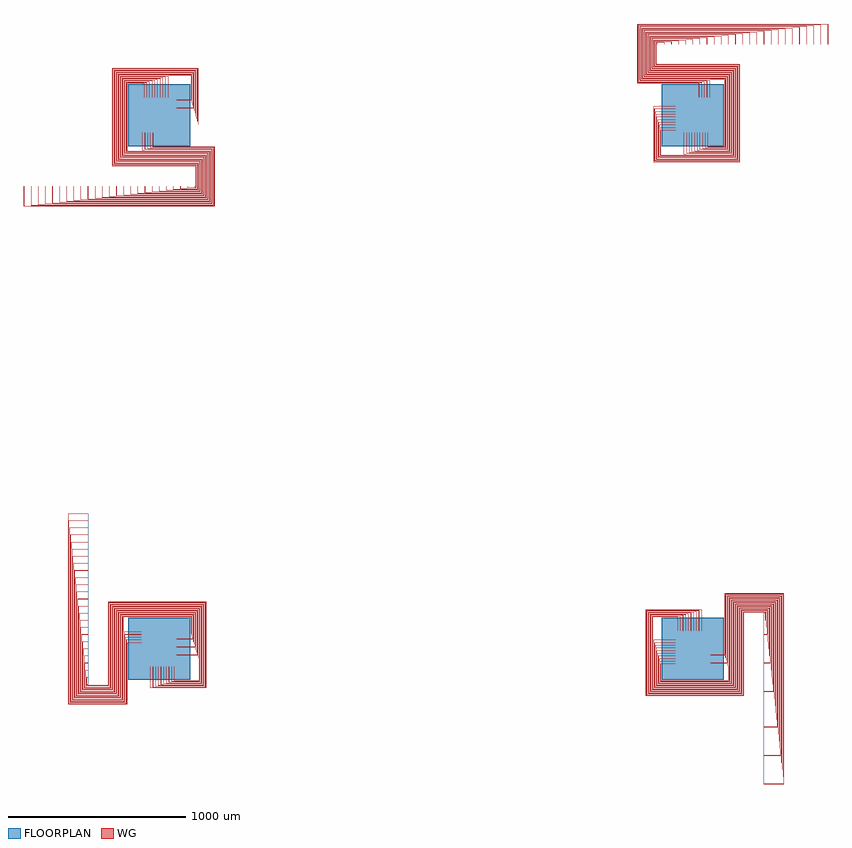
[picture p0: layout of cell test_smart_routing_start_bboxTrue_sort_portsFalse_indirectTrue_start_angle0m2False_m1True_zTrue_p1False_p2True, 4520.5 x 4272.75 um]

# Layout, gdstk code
import gdstk
lib = gdstk.Library(unit=1e-6, precision=1e-09)
def R(c, l, rs):  # rectangles x0, y0, x1, y1
    for r in rs: c.add(gdstk.rectangle(r[:2], r[2:], *l))
def P(c, l, *ps):  # polygons
    for p in ps: c.add(gdstk.Polygon(p, *l))
WG = (1, 0)
FLOORPLAN = (10, 0)

test_smart_routing_start = lib.new_cell('test_smart_routing_start_bboxTrue_sort_portsFalse_indirectTrue_start_angle0m2False_m1True_zTrue_p1False_p2True')
P(test_smart_routing_start, WG, [(-50.25,-220),(-50.25,-100),(-49.75,-100),(-49.75,-219.5),(264.5,-219.5),(264.5,264.5),(-287,264.5),(-287,-204.75),(-404.5,-204.75),(-404.5,-199.75),(-400,-199.75),(-400,-200.25),(-404,-200.25),(-404,-204.25),(-287.5,-204.25),(-287.5,265),(265,265),(265,-220)],
  [(-35.25,-215.5),(-35.25,-100),(-34.75,-100),(-34.75,-215),(260,-215),(260,260),(-282.5,260),(-282.5,-209.25),(-409,-209.25),(-409,-159.75),(-400,-159.75),(-400,-160.25),(-408.5,-160.25),(-408.5,-208.75),(-283,-208.75),(-283,260.5),(260.5,260.5),(260.5,-215.5)],
  [(-413.5,-213.75),(-413.5,-119.75),(-400,-119.75),(-400,-120.25),(-413,-120.25),(-413,-213.25),(-278.5,-213.25),(-278.5,256),(256,256),(256,-211),(-20.25,-211),(-20.25,-100),(-19.75,-100),(-19.75,-210.5),(255.5,-210.5),(255.5,255.5),(-278,255.5),(-278,-213.75)],
  [(-418,-218.25),(-418,-79.75),(-400,-79.75),(-400,-80.25),(-417.5,-80.25),(-417.5,-217.75),(-274,-217.75),(-274,251.5),(251.5,251.5),(251.5,-206.5),(-5.25,-206.5),(-5.25,-100),(-4.75,-100),(-4.75,-206),(251,-206),(251,251),(-273.5,251),(-273.5,-218.25)],
  [(-422.5,-222.75),(-422.5,-39.75),(-400,-39.75),(-400,-40.25),(-422,-40.25),(-422,-222.25),(-269.5,-222.25),(-269.5,247),(247,247),(247,-202),(9.75,-202),(9.75,-100),(10.25,-100),(10.25,-201.5),(246.5,-201.5),(246.5,246.5),(-269,246.5),(-269,-222.75)],
  [(-427,-227.25),(-427,0.25),(-400,0.25),(-400,-0.25),(-426.5,-0.25),(-426.5,-226.75),(-265,-226.75),(-265,242.5),(242.5,242.5),(242.5,-197.5),(24.75,-197.5),(24.75,-100),(25.25,-100),(25.25,-197),(242,-197),(242,242),(-264.5,242),(-264.5,-227.25)],
  [(-431.5,-231.75),(-431.5,40.25),(-400,40.25),(-400,39.75),(-431,39.75),(-431,-231.25),(-260.5,-231.25),(-260.5,238),(238,238),(238,-193),(39.75,-193),(39.75,-100),(40.25,-100),(40.25,-192.5),(237.5,-192.5),(237.5,237.5),(-260,237.5),(-260,-231.75)],
  [(-436,-236.25),(-436,80.25),(-400,80.25),(-400,79.75),(-435.5,79.75),(-435.5,-235.75),(-256,-235.75),(-256,233.5),(233.5,233.5),(233.5,-188.5),(54.75,-188.5),(54.75,-100),(55.25,-100),(55.25,-188),(233,-188),(233,233),(-255.5,233),(-255.5,-236.25)],
  [(-440.5,-240.75),(-440.5,120.25),(-400,120.25),(-400,119.75),(-440,119.75),(-440,-240.25),(-251.5,-240.25),(-251.5,229),(229,229),(229,-184),(69.75,-184),(69.75,-100),(70.25,-100),(70.25,-183.5),(228.5,-183.5),(228.5,228.5),(-251,228.5),(-251,-240.75)],
  [(-445,-245.25),(-445,160.25),(-400,160.25),(-400,159.75),(-444.5,159.75),(-444.5,-244.75),(-247,-244.75),(-247,224.5),(224.5,224.5),(224.5,-179.5),(84.75,-179.5),(84.75,-100),(85.25,-100),(85.25,-179),(224,-179),(224,224),(-246.5,224),(-246.5,-245.25)],
  [(-449.5,-249.75),(-449.5,200.25),(-400,200.25),(-400,199.75),(-449,199.75),(-449,-249.25),(-242.5,-249.25),(-242.5,220),(220,220),(220,-50.25),(100,-50.25),(100,-49.75),(219.5,-49.75),(219.5,219.5),(-242,219.5),(-242,-249.75)],
  [(-454,-254.25),(-454,240.25),(-400,240.25),(-400,239.75),(-453.5,239.75),(-453.5,-253.75),(-238,-253.75),(-238,215.5),(215.5,215.5),(215.5,-35.25),(100,-35.25),(100,-34.75),(215,-34.75),(215,215),(-237.5,215),(-237.5,-254.25)],
  [(-458.5,-258.75),(-458.5,280.25),(-400,280.25),(-400,279.75),(-458,279.75),(-458,-258.25),(-233.5,-258.25),(-233.5,211),(211,211),(211,-20.25),(100,-20.25),(100,-19.75),(210.5,-19.75),(210.5,210.5),(-233,210.5),(-233,-258.75)],
  [(-463,-263.25),(-463,320.25),(-400,320.25),(-400,319.75),(-462.5,319.75),(-462.5,-262.75),(-229,-262.75),(-229,206.5),(206.5,206.5),(206.5,-5.25),(100,-5.25),(100,-4.75),(206,-4.75),(206,206),(-228.5,206),(-228.5,-263.25)],
  [(-467.5,-267.75),(-467.5,360.25),(-400,360.25),(-400,359.75),(-467,359.75),(-467,-267.25),(-224.5,-267.25),(-224.5,202),(202,202),(202,9.75),(100,9.75),(100,10.25),(201.5,10.25),(201.5,201.5),(-224,201.5),(-224,-267.75)],
  [(-472,-272.25),(-472,400.25),(-400,400.25),(-400,399.75),(-471.5,399.75),(-471.5,-271.75),(-220,-271.75),(-220,197.5),(197.5,197.5),(197.5,24.75),(100,24.75),(100,25.25),(197,25.25),(197,197),(-219.5,197),(-219.5,-272.25)],
  [(-476.5,-276.75),(-476.5,440.25),(-400,440.25),(-400,439.75),(-476,439.75),(-476,-276.25),(-215.5,-276.25),(-215.5,193),(193,193),(193,39.75),(100,39.75),(100,40.25),(192.5,40.25),(192.5,192.5),(-215,192.5),(-215,-276.75)],
  [(-481,-281.25),(-481,480.25),(-400,480.25),(-400,479.75),(-480.5,479.75),(-480.5,-280.75),(-211,-280.75),(-211,188.5),(188.5,188.5),(188.5,54.75),(100,54.75),(100,55.25),(188,55.25),(188,188),(-210.5,188),(-210.5,-281.25)],
  [(-485.5,-285.75),(-485.5,520.25),(-400,520.25),(-400,519.75),(-485,519.75),(-485,-285.25),(-206.5,-285.25),(-206.5,184),(184,184),(184,69.75),(100,69.75),(100,70.25),(183.5,70.25),(183.5,183.5),(-206,183.5),(-206,-285.75)],
  [(-490,-290.25),(-490,560.25),(-400,560.25),(-400,559.75),(-489.5,559.75),(-489.5,-289.75),(-202,-289.75),(-202,179.5),(179.5,179.5),(179.5,84.75),(100,84.75),(100,85.25),(179,85.25),(179,179),(-201.5,179),(-201.5,-290.25)],
  [(-512.5,-312.75),(-512.5,760.25),(-400,760.25),(-400,759.75),(-512,759.75),(-512,-312.25),(-179.5,-312.25),(-179.5,35.25),(-100,35.25),(-100,34.75),(-179,34.75),(-179,-312.75)],
  [(-508,-308.25),(-508,720.25),(-400,720.25),(-400,719.75),(-507.5,719.75),(-507.5,-307.75),(-184,-307.75),(-184,50.25),(-100,50.25),(-100,49.75),(-183.5,49.75),(-183.5,-308.25)],
  [(-503.5,-303.75),(-503.5,680.25),(-400,680.25),(-400,679.75),(-503,679.75),(-503,-303.25),(-188.5,-303.25),(-188.5,65.25),(-100,65.25),(-100,64.75),(-188,64.75),(-188,-303.75)],
  [(-499,-299.25),(-499,640.25),(-400,640.25),(-400,639.75),(-498.5,639.75),(-498.5,-298.75),(-193,-298.75),(-193,80.25),(-100,80.25),(-100,79.75),(-192.5,79.75),(-192.5,-299.25)],
  [(-494.5,-294.75),(-494.5,600.25),(-400,600.25),(-400,599.75),(-494,599.75),(-494,-294.25),(-197.5,-294.25),(-197.5,95.25),(-100,95.25),(-100,94.75),(-197,94.75),(-197,-294.75)],
  [(199.75,2595.5),(199.75,2600),(200.25,2600),(200.25,2596),(204.25,2596),(204.25,2712.5),(-265,2712.5),(-265,3265),(220,3265),(220,2949.75),(100,2949.75),(100,2950.25),(219.5,2950.25),(219.5,3264.5),(-264.5,3264.5),(-264.5,2713),(204.75,2713),(204.75,2595.5)],
  [(159.75,2591),(159.75,2600),(160.25,2600),(160.25,2591.5),(208.75,2591.5),(208.75,2717),(-260.5,2717),(-260.5,3260.5),(215.5,3260.5),(215.5,2964.75),(100,2964.75),(100,2965.25),(215,2965.25),(215,3260),(-260,3260),(-260,2717.5),(209.25,2717.5),(209.25,2591)],
  [(119.75,2586.5),(119.75,2600),(120.25,2600),(120.25,2587),(213.25,2587),(213.25,2721.5),(-256,2721.5),(-256,3256),(211,3256),(211,2979.75),(100,2979.75),(100,2980.25),(210.5,2980.25),(210.5,3255.5),(-255.5,3255.5),(-255.5,2722),(213.75,2722),(213.75,2586.5)],
  [(79.75,2582),(79.75,2600),(80.25,2600),(80.25,2582.5),(217.75,2582.5),(217.75,2726),(-251.5,2726),(-251.5,3251.5),(206.5,3251.5),(206.5,2994.75),(100,2994.75),(100,2995.25),(206,2995.25),(206,3251),(-251,3251),(-251,2726.5),(218.25,2726.5),(218.25,2582)],
  [(39.75,2577.5),(39.75,2600),(40.25,2600),(40.25,2578),(222.25,2578),(222.25,2730.5),(-247,2730.5),(-247,3247),(202,3247),(202,3009.75),(100,3009.75),(100,3010.25),(201.5,3010.25),(201.5,3246.5),(-246.5,3246.5),(-246.5,2731),(222.75,2731),(222.75,2577.5)],
  [(-0.25,2573),(-0.25,2600),(0.25,2600),(0.25,2573.5),(226.75,2573.5),(226.75,2735),(-242.5,2735),(-242.5,3242.5),(197.5,3242.5),(197.5,3024.75),(100,3024.75),(100,3025.25),(197,3025.25),(197,3242),(-242,3242),(-242,2735.5),(227.25,2735.5),(227.25,2573)],
  [(-40.25,2568.5),(-40.25,2600),(-39.75,2600),(-39.75,2569),(231.25,2569),(231.25,2739.5),(-238,2739.5),(-238,3238),(193,3238),(193,3039.75),(100,3039.75),(100,3040.25),(192.5,3040.25),(192.5,3237.5),(-237.5,3237.5),(-237.5,2740),(231.75,2740),(231.75,2568.5)],
  [(-80.25,2564),(-80.25,2600),(-79.75,2600),(-79.75,2564.5),(235.75,2564.5),(235.75,2744),(-233.5,2744),(-233.5,3233.5),(188.5,3233.5),(188.5,3054.75),(100,3054.75),(100,3055.25),(188,3055.25),(188,3233),(-233,3233),(-233,2744.5),(236.25,2744.5),(236.25,2564)],
  [(-120.25,2559.5),(-120.25,2600),(-119.75,2600),(-119.75,2560),(240.25,2560),(240.25,2748.5),(-229,2748.5),(-229,3229),(184,3229),(184,3069.75),(100,3069.75),(100,3070.25),(183.5,3070.25),(183.5,3228.5),(-228.5,3228.5),(-228.5,2749),(240.75,2749),(240.75,2559.5)],
  [(-160.25,2555),(-160.25,2600),(-159.75,2600),(-159.75,2555.5),(244.75,2555.5),(244.75,2753),(-224.5,2753),(-224.5,3224.5),(179.5,3224.5),(179.5,3084.75),(100,3084.75),(100,3085.25),(179,3085.25),(179,3224),(-224,3224),(-224,2753.5),(245.25,2753.5),(245.25,2555)],
  [(-200.25,2550.5),(-200.25,2600),(-199.75,2600),(-199.75,2551),(249.25,2551),(249.25,2757.5),(-220,2757.5),(-220,3220),(50.25,3220),(50.25,3100),(49.75,3100),(49.75,3219.5),(-219.5,3219.5),(-219.5,2758),(249.75,2758),(249.75,2550.5)],
  [(-240.25,2546),(-240.25,2600),(-239.75,2600),(-239.75,2546.5),(253.75,2546.5),(253.75,2762),(-215.5,2762),(-215.5,3215.5),(35.25,3215.5),(35.25,3100),(34.75,3100),(34.75,3215),(-215,3215),(-215,2762.5),(254.25,2762.5),(254.25,2546)],
  [(-280.25,2541.5),(-280.25,2600),(-279.75,2600),(-279.75,2542),(258.25,2542),(258.25,2766.5),(-211,2766.5),(-211,3211),(20.25,3211),(20.25,3100),(19.75,3100),(19.75,3210.5),(-210.5,3210.5),(-210.5,2767),(258.75,2767),(258.75,2541.5)],
  [(-320.25,2537),(-320.25,2600),(-319.75,2600),(-319.75,2537.5),(262.75,2537.5),(262.75,2771),(-206.5,2771),(-206.5,3206.5),(5.25,3206.5),(5.25,3100),(4.75,3100),(4.75,3206),(-206,3206),(-206,2771.5),(263.25,2771.5),(263.25,2537)],
  [(-360.25,2532.5),(-360.25,2600),(-359.75,2600),(-359.75,2533),(267.25,2533),(267.25,2775.5),(-202,2775.5),(-202,3202),(-9.75,3202),(-9.75,3100),(-10.25,3100),(-10.25,3201.5),(-201.5,3201.5),(-201.5,2776),(267.75,2776),(267.75,2532.5)],
  [(-400.25,2528),(-400.25,2600),(-399.75,2600),(-399.75,2528.5),(271.75,2528.5),(271.75,2780),(-197.5,2780),(-197.5,3197.5),(-24.75,3197.5),(-24.75,3100),(-25.25,3100),(-25.25,3197),(-197,3197),(-197,2780.5),(272.25,2780.5),(272.25,2528)],
  [(-440.25,2523.5),(-440.25,2600),(-439.75,2600),(-439.75,2524),(276.25,2524),(276.25,2784.5),(-193,2784.5),(-193,3193),(-39.75,3193),(-39.75,3100),(-40.25,3100),(-40.25,3192.5),(-192.5,3192.5),(-192.5,2785),(276.75,2785),(276.75,2523.5)],
  [(-480.25,2519),(-480.25,2600),(-479.75,2600),(-479.75,2519.5),(280.75,2519.5),(280.75,2789),(-188.5,2789),(-188.5,3188.5),(-54.75,3188.5),(-54.75,3100),(-55.25,3100),(-55.25,3188),(-188,3188),(-188,2789.5),(281.25,2789.5),(281.25,2519)],
  [(-520.25,2514.5),(-520.25,2600),(-519.75,2600),(-519.75,2515),(285.25,2515),(285.25,2793.5),(-184,2793.5),(-184,3184),(-69.75,3184),(-69.75,3100),(-70.25,3100),(-70.25,3183.5),(-183.5,3183.5),(-183.5,2794),(285.75,2794),(285.75,2514.5)],
  [(-560.25,2510),(-560.25,2600),(-559.75,2600),(-559.75,2510.5),(289.75,2510.5),(289.75,2798),(-179.5,2798),(-179.5,3179.5),(-84.75,3179.5),(-84.75,3100),(-85.25,3100),(-85.25,3179),(-179,3179),(-179,2798.5),(290.25,2798.5),(290.25,2510)],
  [(-760.25,2487.5),(-760.25,2600),(-759.75,2600),(-759.75,2488),(312.25,2488),(312.25,2820.5),(-35.25,2820.5),(-35.25,2900),(-34.75,2900),(-34.75,2821),(312.75,2821),(312.75,2487.5)],
  [(-720.25,2492),(-720.25,2600),(-719.75,2600),(-719.75,2492.5),(307.75,2492.5),(307.75,2816),(-50.25,2816),(-50.25,2900),(-49.75,2900),(-49.75,2816.5),(308.25,2816.5),(308.25,2492)],
  [(-680.25,2496.5),(-680.25,2600),(-679.75,2600),(-679.75,2497),(303.25,2497),(303.25,2811.5),(-65.25,2811.5),(-65.25,2900),(-64.75,2900),(-64.75,2812),(303.75,2812),(303.75,2496.5)],
  [(-640.25,2501),(-640.25,2600),(-639.75,2600),(-639.75,2501.5),(298.75,2501.5),(298.75,2807),(-80.25,2807),(-80.25,2900),(-79.75,2900),(-79.75,2807.5),(299.25,2807.5),(299.25,2501)],
  [(-600.25,2505.5),(-600.25,2600),(-599.75,2600),(-599.75,2506),(294.25,2506),(294.25,2802.5),(-95.25,2802.5),(-95.25,2900),(-94.75,2900),(-94.75,2803),(294.75,2803),(294.75,2505.5)],
  [(2735,-265),(2735,220),(3050.25,220),(3050.25,100),(3049.75,100),(3049.75,219.5),(2735.5,219.5),(2735.5,-264.5),(3287,-264.5),(3287,204.75),(3404.5,204.75),(3404.5,199.75),(3400,199.75),(3400,200.25),(3404,200.25),(3404,204.25),(3287.5,204.25),(3287.5,-265)],
  [(2739.5,-260.5),(2739.5,215.5),(3035.25,215.5),(3035.25,100),(3034.75,100),(3034.75,215),(2740,215),(2740,-260),(3282.5,-260),(3282.5,209.25),(3409,209.25),(3409,159.75),(3400,159.75),(3400,160.25),(3408.5,160.25),(3408.5,208.75),(3283,208.75),(3283,-260.5)],
  [(2744,-256),(2744,211),(3020.25,211),(3020.25,100),(3019.75,100),(3019.75,210.5),(2744.5,210.5),(2744.5,-255.5),(3278,-255.5),(3278,213.75),(3413.5,213.75),(3413.5,119.75),(3400,119.75),(3400,120.25),(3413,120.25),(3413,213.25),(3278.5,213.25),(3278.5,-256)],
  [(2748.5,-251.5),(2748.5,206.5),(3005.25,206.5),(3005.25,100),(3004.75,100),(3004.75,206),(2749,206),(2749,-251),(3273.5,-251),(3273.5,218.25),(3418,218.25),(3418,79.75),(3400,79.75),(3400,80.25),(3417.5,80.25),(3417.5,217.75),(3274,217.75),(3274,-251.5)],
  [(2753,-247),(2753,202),(2990.25,202),(2990.25,100),(2989.75,100),(2989.75,201.5),(2753.5,201.5),(2753.5,-246.5),(3269,-246.5),(3269,222.75),(3422.5,222.75),(3422.5,39.75),(3400,39.75),(3400,40.25),(3422,40.25),(3422,222.25),(3269.5,222.25),(3269.5,-247)],
  [(2757.5,-242.5),(2757.5,197.5),(2975.25,197.5),(2975.25,100),(2974.75,100),(2974.75,197),(2758,197),(2758,-242),(3264.5,-242),(3264.5,227.25),(3427,227.25),(3427,-0.25),(3400,-0.25),(3400,0.25),(3426.5,0.25),(3426.5,226.75),(3265,226.75),(3265,-242.5)],
  [(2762,-238),(2762,193),(2960.25,193),(2960.25,100),(2959.75,100),(2959.75,192.5),(2762.5,192.5),(2762.5,-237.5),(3260,-237.5),(3260,231.75),(3431.5,231.75),(3431.5,-40.25),(3400,-40.25),(3400,-39.75),(3431,-39.75),(3431,231.25),(3260.5,231.25),(3260.5,-238)],
  [(2766.5,-233.5),(2766.5,188.5),(2945.25,188.5),(2945.25,100),(2944.75,100),(2944.75,188),(2767,188),(2767,-233),(3255.5,-233),(3255.5,236.25),(3436,236.25),(3436,-80.25),(3400,-80.25),(3400,-79.75),(3435.5,-79.75),(3435.5,235.75),(3256,235.75),(3256,-233.5)],
  [(2771,-229),(2771,184),(2930.25,184),(2930.25,100),(2929.75,100),(2929.75,183.5),(2771.5,183.5),(2771.5,-228.5),(3251,-228.5),(3251,240.75),(3440.5,240.75),(3440.5,-120.25),(3400,-120.25),(3400,-119.75),(3440,-119.75),(3440,240.25),(3251.5,240.25),(3251.5,-229)],
  [(2775.5,-224.5),(2775.5,179.5),(2915.25,179.5),(2915.25,100),(2914.75,100),(2914.75,179),(2776,179),(2776,-224),(3246.5,-224),(3246.5,245.25),(3445,245.25),(3445,-160.25),(3400,-160.25),(3400,-159.75),(3444.5,-159.75),(3444.5,244.75),(3247,244.75),(3247,-224.5)],
  [(2780,-220),(2780,50.25),(2900,50.25),(2900,49.75),(2780.5,49.75),(2780.5,-219.5),(3242,-219.5),(3242,249.75),(3449.5,249.75),(3449.5,-200.25),(3400,-200.25),(3400,-199.75),(3449,-199.75),(3449,249.25),(3242.5,249.25),(3242.5,-220)],
  [(3400,-240.25),(3400,-239.75),(3453.5,-239.75),(3453.5,253.75),(3238,253.75),(3238,-215.5),(2784.5,-215.5),(2784.5,35.25),(2900,35.25),(2900,34.75),(2785,34.75),(2785,-215),(3237.5,-215),(3237.5,254.25),(3454,254.25),(3454,-240.25)],
  [(3400,-280.25),(3400,-279.75),(3458,-279.75),(3458,258.25),(3233.5,258.25),(3233.5,-211),(2789,-211),(2789,20.25),(2900,20.25),(2900,19.75),(2789.5,19.75),(2789.5,-210.5),(3233,-210.5),(3233,258.75),(3458.5,258.75),(3458.5,-280.25)],
  [(3400,-320.25),(3400,-319.75),(3462.5,-319.75),(3462.5,262.75),(3229,262.75),(3229,-206.5),(2793.5,-206.5),(2793.5,5.25),(2900,5.25),(2900,4.75),(2794,4.75),(2794,-206),(3228.5,-206),(3228.5,263.25),(3463,263.25),(3463,-320.25)],
  [(3400,-360.25),(3400,-359.75),(3467,-359.75),(3467,267.25),(3224.5,267.25),(3224.5,-202),(2798,-202),(2798,-9.75),(2900,-9.75),(2900,-10.25),(2798.5,-10.25),(2798.5,-201.5),(3224,-201.5),(3224,267.75),(3467.5,267.75),(3467.5,-360.25)],
  [(3400,-400.25),(3400,-399.75),(3471.5,-399.75),(3471.5,271.75),(3220,271.75),(3220,-197.5),(2802.5,-197.5),(2802.5,-24.75),(2900,-24.75),(2900,-25.25),(2803,-25.25),(2803,-197),(3219.5,-197),(3219.5,272.25),(3472,272.25),(3472,-400.25)],
  [(3400,-440.25),(3400,-439.75),(3476,-439.75),(3476,276.25),(3215.5,276.25),(3215.5,-193),(2807,-193),(2807,-39.75),(2900,-39.75),(2900,-40.25),(2807.5,-40.25),(2807.5,-192.5),(3215,-192.5),(3215,276.75),(3476.5,276.75),(3476.5,-440.25)],
  [(3400,-480.25),(3400,-479.75),(3480.5,-479.75),(3480.5,280.75),(3211,280.75),(3211,-188.5),(2811.5,-188.5),(2811.5,-54.75),(2900,-54.75),(2900,-55.25),(2812,-55.25),(2812,-188),(3210.5,-188),(3210.5,281.25),(3481,281.25),(3481,-480.25)],
  [(3400,-520.25),(3400,-519.75),(3485,-519.75),(3485,285.25),(3206.5,285.25),(3206.5,-184),(2816,-184),(2816,-69.75),(2900,-69.75),(2900,-70.25),(2816.5,-70.25),(2816.5,-183.5),(3206,-183.5),(3206,285.75),(3485.5,285.75),(3485.5,-520.25)],
  [(3400,-560.25),(3400,-559.75),(3489.5,-559.75),(3489.5,289.75),(3202,289.75),(3202,-179.5),(2820.5,-179.5),(2820.5,-84.75),(2900,-84.75),(2900,-85.25),(2821,-85.25),(2821,-179),(3201.5,-179),(3201.5,290.25),(3490,290.25),(3490,-560.25)],
  [(3400,-760.25),(3400,-759.75),(3512,-759.75),(3512,312.25),(3179.5,312.25),(3179.5,-35.25),(3100,-35.25),(3100,-34.75),(3179,-34.75),(3179,312.75),(3512.5,312.75),(3512.5,-760.25)],
  [(3400,-720.25),(3400,-719.75),(3507.5,-719.75),(3507.5,307.75),(3184,307.75),(3184,-50.25),(3100,-50.25),(3100,-49.75),(3183.5,-49.75),(3183.5,308.25),(3508,308.25),(3508,-720.25)],
  [(3400,-680.25),(3400,-679.75),(3503,-679.75),(3503,303.25),(3188.5,303.25),(3188.5,-65.25),(3100,-65.25),(3100,-64.75),(3188,-64.75),(3188,303.75),(3503.5,303.75),(3503.5,-680.25)],
  [(3400,-640.25),(3400,-639.75),(3498.5,-639.75),(3498.5,298.75),(3193,298.75),(3193,-80.25),(3100,-80.25),(3100,-79.75),(3192.5,-79.75),(3192.5,299.25),(3499,299.25),(3499,-640.25)],
  [(3400,-600.25),(3400,-599.75),(3494,-599.75),(3494,294.25),(3197.5,294.25),(3197.5,-95.25),(3100,-95.25),(3100,-94.75),(3197,-94.75),(3197,294.75),(3494.5,294.75),(3494.5,-600.25)],
  [(2780,2735),(2780,3050.25),(2900,3050.25),(2900,3049.75),(2780.5,3049.75),(2780.5,2735.5),(3264.5,2735.5),(3264.5,3287),(2795.25,3287),(2795.25,3404.5),(2800.25,3404.5),(2800.25,3400),(2799.75,3400),(2799.75,3404),(2795.75,3404),(2795.75,3287.5),(3265,3287.5),(3265,2735)],
  [(2784.5,2739.5),(2784.5,3035.25),(2900,3035.25),(2900,3034.75),(2785,3034.75),(2785,2740),(3260,2740),(3260,3282.5),(2790.75,3282.5),(2790.75,3409),(2840.25,3409),(2840.25,3400),(2839.75,3400),(2839.75,3408.5),(2791.25,3408.5),(2791.25,3283),(3260.5,3283),(3260.5,2739.5)],
  [(2789,2744),(2789,3020.25),(2900,3020.25),(2900,3019.75),(2789.5,3019.75),(2789.5,2744.5),(3255.5,2744.5),(3255.5,3278),(2786.25,3278),(2786.25,3413.5),(2880.25,3413.5),(2880.25,3400),(2879.75,3400),(2879.75,3413),(2786.75,3413),(2786.75,3278.5),(3256,3278.5),(3256,2744)],
  [(2793.5,2748.5),(2793.5,3005.25),(2900,3005.25),(2900,3004.75),(2794,3004.75),(2794,2749),(3251,2749),(3251,3273.5),(2781.75,3273.5),(2781.75,3418),(2920.25,3418),(2920.25,3400),(2919.75,3400),(2919.75,3417.5),(2782.25,3417.5),(2782.25,3274),(3251.5,3274),(3251.5,2748.5)],
  [(2798,2753),(2798,2990.25),(2900,2990.25),(2900,2989.75),(2798.5,2989.75),(2798.5,2753.5),(3246.5,2753.5),(3246.5,3269),(2777.25,3269),(2777.25,3422.5),(2960.25,3422.5),(2960.25,3400),(2959.75,3400),(2959.75,3422),(2777.75,3422),(2777.75,3269.5),(3247,3269.5),(3247,2753)],
  [(2802.5,2757.5),(2802.5,2975.25),(2900,2975.25),(2900,2974.75),(2803,2974.75),(2803,2758),(3242,2758),(3242,3264.5),(2772.75,3264.5),(2772.75,3427),(3000.25,3427),(3000.25,3400),(2999.75,3400),(2999.75,3426.5),(2773.25,3426.5),(2773.25,3265),(3242.5,3265),(3242.5,2757.5)],
  [(2807,2762),(2807,2960.25),(2900,2960.25),(2900,2959.75),(2807.5,2959.75),(2807.5,2762.5),(3237.5,2762.5),(3237.5,3260),(2768.25,3260),(2768.25,3431.5),(3040.25,3431.5),(3040.25,3400),(3039.75,3400),(3039.75,3431),(2768.75,3431),(2768.75,3260.5),(3238,3260.5),(3238,2762)],
  [(2811.5,2766.5),(2811.5,2945.25),(2900,2945.25),(2900,2944.75),(2812,2944.75),(2812,2767),(3233,2767),(3233,3255.5),(2763.75,3255.5),(2763.75,3436),(3080.25,3436),(3080.25,3400),(3079.75,3400),(3079.75,3435.5),(2764.25,3435.5),(2764.25,3256),(3233.5,3256),(3233.5,2766.5)],
  [(2816,2771),(2816,2930.25),(2900,2930.25),(2900,2929.75),(2816.5,2929.75),(2816.5,2771.5),(3228.5,2771.5),(3228.5,3251),(2759.25,3251),(2759.25,3440.5),(3120.25,3440.5),(3120.25,3400),(3119.75,3400),(3119.75,3440),(2759.75,3440),(2759.75,3251.5),(3229,3251.5),(3229,2771)],
  [(2820.5,2775.5),(2820.5,2915.25),(2900,2915.25),(2900,2914.75),(2821,2914.75),(2821,2776),(3224,2776),(3224,3246.5),(2754.75,3246.5),(2754.75,3445),(3160.25,3445),(3160.25,3400),(3159.75,3400),(3159.75,3444.5),(2755.25,3444.5),(2755.25,3247),(3224.5,3247),(3224.5,2775.5)],
  [(2949.75,2780),(2949.75,2900),(2950.25,2900),(2950.25,2780.5),(3219.5,2780.5),(3219.5,3242),(2750.25,3242),(2750.25,3449.5),(3200.25,3449.5),(3200.25,3400),(3199.75,3400),(3199.75,3449),(2750.75,3449),(2750.75,3242.5),(3220,3242.5),(3220,2780)],
  [(2964.75,2784.5),(2964.75,2900),(2965.25,2900),(2965.25,2785),(3215,2785),(3215,3237.5),(2745.75,3237.5),(2745.75,3454),(3240.25,3454),(3240.25,3400),(3239.75,3400),(3239.75,3453.5),(2746.25,3453.5),(2746.25,3238),(3215.5,3238),(3215.5,2784.5)],
  [(2979.75,2789),(2979.75,2900),(2980.25,2900),(2980.25,2789.5),(3210.5,2789.5),(3210.5,3233),(2741.25,3233),(2741.25,3458.5),(3280.25,3458.5),(3280.25,3400),(3279.75,3400),(3279.75,3458),(2741.75,3458),(2741.75,3233.5),(3211,3233.5),(3211,2789)],
  [(2994.75,2793.5),(2994.75,2900),(2995.25,2900),(2995.25,2794),(3206,2794),(3206,3228.5),(2736.75,3228.5),(2736.75,3463),(3320.25,3463),(3320.25,3400),(3319.75,3400),(3319.75,3462.5),(2737.25,3462.5),(2737.25,3229),(3206.5,3229),(3206.5,2793.5)],
  [(3009.75,2798),(3009.75,2900),(3010.25,2900),(3010.25,2798.5),(3201.5,2798.5),(3201.5,3224),(2732.25,3224),(2732.25,3467.5),(3360.25,3467.5),(3360.25,3400),(3359.75,3400),(3359.75,3467),(2732.75,3467),(2732.75,3224.5),(3202,3224.5),(3202,2798)],
  [(3024.75,2802.5),(3024.75,2900),(3025.25,2900),(3025.25,2803),(3197,2803),(3197,3219.5),(2727.75,3219.5),(2727.75,3472),(3400.25,3472),(3400.25,3400),(3399.75,3400),(3399.75,3471.5),(2728.25,3471.5),(2728.25,3220),(3197.5,3220),(3197.5,2802.5)],
  [(3039.75,2807),(3039.75,2900),(3040.25,2900),(3040.25,2807.5),(3192.5,2807.5),(3192.5,3215),(2723.25,3215),(2723.25,3476.5),(3440.25,3476.5),(3440.25,3400),(3439.75,3400),(3439.75,3476),(2723.75,3476),(2723.75,3215.5),(3193,3215.5),(3193,2807)],
  [(3054.75,2811.5),(3054.75,2900),(3055.25,2900),(3055.25,2812),(3188,2812),(3188,3210.5),(2718.75,3210.5),(2718.75,3481),(3480.25,3481),(3480.25,3400),(3479.75,3400),(3479.75,3480.5),(2719.25,3480.5),(2719.25,3211),(3188.5,3211),(3188.5,2811.5)],
  [(3069.75,2816),(3069.75,2900),(3070.25,2900),(3070.25,2816.5),(3183.5,2816.5),(3183.5,3206),(2714.25,3206),(2714.25,3485.5),(3520.25,3485.5),(3520.25,3400),(3519.75,3400),(3519.75,3485),(2714.75,3485),(2714.75,3206.5),(3184,3206.5),(3184,2816)],
  [(3084.75,2820.5),(3084.75,2900),(3085.25,2900),(3085.25,2821),(3179,2821),(3179,3201.5),(2709.75,3201.5),(2709.75,3490),(3560.25,3490),(3560.25,3400),(3559.75,3400),(3559.75,3489.5),(2710.25,3489.5),(2710.25,3202),(3179.5,3202),(3179.5,2820.5)],
  [(3034.75,3100),(3034.75,3179),(2687.25,3179),(2687.25,3512.5),(3760.25,3512.5),(3760.25,3400),(3759.75,3400),(3759.75,3512),(2687.75,3512),(2687.75,3179.5),(3035.25,3179.5),(3035.25,3100)],
  [(3049.75,3100),(3049.75,3183.5),(2691.75,3183.5),(2691.75,3508),(3720.25,3508),(3720.25,3400),(3719.75,3400),(3719.75,3507.5),(2692.25,3507.5),(2692.25,3184),(3050.25,3184),(3050.25,3100)],
  [(3064.75,3100),(3064.75,3188),(2696.25,3188),(2696.25,3503.5),(3680.25,3503.5),(3680.25,3400),(3679.75,3400),(3679.75,3503),(2696.75,3503),(2696.75,3188.5),(3065.25,3188.5),(3065.25,3100)],
  [(3079.75,3100),(3079.75,3192.5),(2700.75,3192.5),(2700.75,3499),(3640.25,3499),(3640.25,3400),(3639.75,3400),(3639.75,3498.5),(2701.25,3498.5),(2701.25,3193),(3080.25,3193),(3080.25,3100)],
  [(3094.75,3100),(3094.75,3197),(2705.25,3197),(2705.25,3494.5),(3600.25,3494.5),(3600.25,3400),(3599.75,3400),(3599.75,3494),(2705.75,3494),(2705.75,3197.5),(3095.25,3197.5),(3095.25,3100)])
R(test_smart_routing_start, FLOORPLAN, [(-175,-175,175,175), (2825,-175,3175,175), (-175,2825,175,3175), (2825,2825,3175,3175)])
P(test_smart_routing_start, FLOORPLAN, [(-400,-200),(-400,760),(-400,760),(-400,-200)],
  [(-760,2600),(-760,2600),(200,2600),(200,2600)],
  [(3400,-760),(3400,200),(3400,200),(3400,-760)],
  [(2800,3400),(2800,3400),(3760,3400),(3760,3400)])

lib.write_gds('test_smart_routing_start_bboxTrue_sort_portsFalse_indirectTrue_start_angle0m2False_m1True_zTrue_p1False_p2True.gds')
